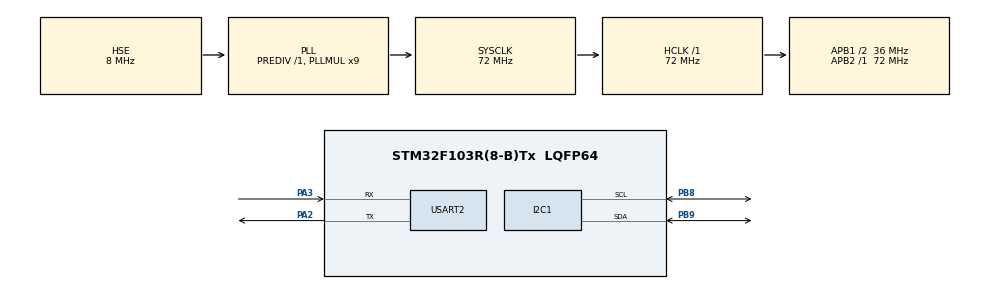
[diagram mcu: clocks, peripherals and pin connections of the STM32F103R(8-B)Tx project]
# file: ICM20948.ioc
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Mcu.Family=STM32F1
Mcu.Name=STM32F103R(8-B)Tx
Mcu.Package=LQFP64
NVIC.PriorityGroup=NVIC_PRIORITYGROUP_4
PA13.Mode=Serial_Wire
PA13.Signal=SYS_JTMS-SWDIO
PA14.Mode=Serial_Wire
PA14.Signal=SYS_JTCK-SWCLK
PA2.Mode=Asynchronous
PA2.Signal=USART2_TX
PA3.Mode=Asynchronous
PA3.Signal=USART2_RX
PB8.Mode=I2C
PB8.Signal=I2C1_SCL
PB9.Mode=I2C
PB9.Signal=I2C1_SDA
PD0-OSC_IN.Mode=HSE-External-Oscillator
PD0-OSC_IN.Signal=RCC_OSC_IN
PD1-OSC_OUT.Mode=HSE-External-Oscillator
PD1-OSC_OUT.Signal=RCC_OSC_OUT
ProjectManager.HeapSize=0x200
ProjectManager.StackSize=0x400
ProjectManager.TargetToolchain=MDK-ARM V5
RCC.AHBFreq_Value=72000000
RCC.APB1CLKDivider=RCC_HCLK_DIV2
RCC.APB1Freq_Value=36000000
RCC.APB1TimFreq_Value=72000000
RCC.APB2Freq_Value=72000000
RCC.APB2TimFreq_Value=72000000
RCC.HCLKFreq_Value=72000000
RCC.PLLMUL=RCC_PLL_MUL9
RCC.PLLSourceVirtual=RCC_PLLSOURCE_HSE
RCC.SYSCLKFreq_VALUE=72000000
RCC.SYSCLKSource=RCC_SYSCLKSOURCE_PLLCLK
RCC.USBFreq_Value=72000000
USART2.VirtualMode=VM_ASYNC
board=custom

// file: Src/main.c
/* USER CODE BEGIN Header */
/**
  ******************************************************************************
  * @file           : main.c
  * @brief          : Main program body
  ******************************************************************************
  * @attention
  *
  * <h2><center>&copy; Copyright (c) 2019 STMicroelectronics.
  * All rights reserved.</center></h2>
  *
  * This software component is licensed by ST under BSD 3-Clause license,
  * the "License"; You may not use this file except in compliance with the
  * License. You may obtain a copy of the License at:
  *                        opensource.org/licenses/BSD-3-Clause
  *
  ******************************************************************************
  */
/* USER CODE END Header */

#include "main.h"
#include "i2c.h"
#include "usart.h"
#include "gpio.h"

/* USER CODE BEGIN Includes */
#include "IMU.h"
#include "DEV_Config.h"
/* USER CODE END Includes */

/* USER CODE BEGIN PTD */
uint8_t UART_UpdataFlag = 0;
uint8_t IMU_SampleFlag = 0;
uint8_t Press_SampleFlag = 0;
int16_t magn[3];
int16_t accel[3], gyro[3];
/* USER CODE END PTD */

void SystemClock_Config(void);

int main(void)
{

  /* MCU Configuration--------------------------------------------------------*/

  /* Reset of all peripherals, Initializes the Flash interface and the Systick. */
  HAL_Init();

  /* Configure the system clock */
  SystemClock_Config();

  /* Initialize all configured peripherals */
  MX_GPIO_Init();
  MX_I2C1_Init();
  MX_USART2_UART_Init();
  /* USER CODE BEGIN 2 */
	printf("\nICM-20948 Test Program ...\r\n");
	IMU_Init();
  /* USER CODE END 2 */

  /* Infinite loop */
  /* USER CODE BEGIN WHILE */
  while (1)
  {		IMU_GetYawPitchRoll(angles);
			printf("\r\n /-------------------------------------------------------------/ \r\n");
			printf("\r\n Roll: %.2f     Pitch: %.2f     Yaw: %.2f \r\n",angles[2],angles[1],angles[0]);
			printf("\r\n Acceleration: X: %d     Y: %d     Z: %d \r\n",accel[0],accel[1],accel[2]);
			printf("\r\n Gyroscope: X: %d     Y: %d     Z: %d \r\n",gyro[0],gyro[1],gyro[2]);
 			printf("\r\n Magnetic: X: %d     Y: %d     Z: %d \r\n",magn[0],magn[1],magn[2]);
			DEV_Delay_ms(500);
    /* USER CODE END WHILE */

  }
}

void SystemClock_Config(void)
{
  RCC_OscInitTypeDef RCC_OscInitStruct = {0};
  RCC_ClkInitTypeDef RCC_ClkInitStruct = {0};

  /** Initializes the CPU, AHB and APB busses clocks
  */
  RCC_OscInitStruct.OscillatorType = RCC_OSCILLATORTYPE_HSE;
  RCC_OscInitStruct.HSEState = RCC_HSE_ON;
  RCC_OscInitStruct.HSEPredivValue = RCC_HSE_PREDIV_DIV1;
  RCC_OscInitStruct.HSIState = RCC_HSI_ON;
  RCC_OscInitStruct.PLL.PLLState = RCC_PLL_ON;
  RCC_OscInitStruct.PLL.PLLSource = RCC_PLLSOURCE_HSE;
  RCC_OscInitStruct.PLL.PLLMUL = RCC_PLL_MUL9;
  if (HAL_RCC_OscConfig(&RCC_OscInitStruct) != HAL_OK)
  {
    Error_Handler();
  }
  /** Initializes the CPU, AHB and APB busses clocks
  */
  RCC_ClkInitStruct.ClockType = RCC_CLOCKTYPE_HCLK|RCC_CLOCKTYPE_SYSCLK
                              |RCC_CLOCKTYPE_PCLK1|RCC_CLOCKTYPE_PCLK2;
  RCC_ClkInitStruct.SYSCLKSource = RCC_SYSCLKSOURCE_PLLCLK;
  RCC_ClkInitStruct.AHBCLKDivider = RCC_SYSCLK_DIV1;
  RCC_ClkInitStruct.APB1CLKDivider = RCC_HCLK_DIV2;
  RCC_ClkInitStruct.APB2CLKDivider = RCC_HCLK_DIV1;

  if (HAL_RCC_ClockConfig(&RCC_ClkInitStruct, FLASH_LATENCY_2) != HAL_OK)
  {
    Error_Handler();
  }
}

void Error_Handler(void)
{
}

/************************ (C) COPYRIGHT STMicroelectronics *****END OF FILE****/
